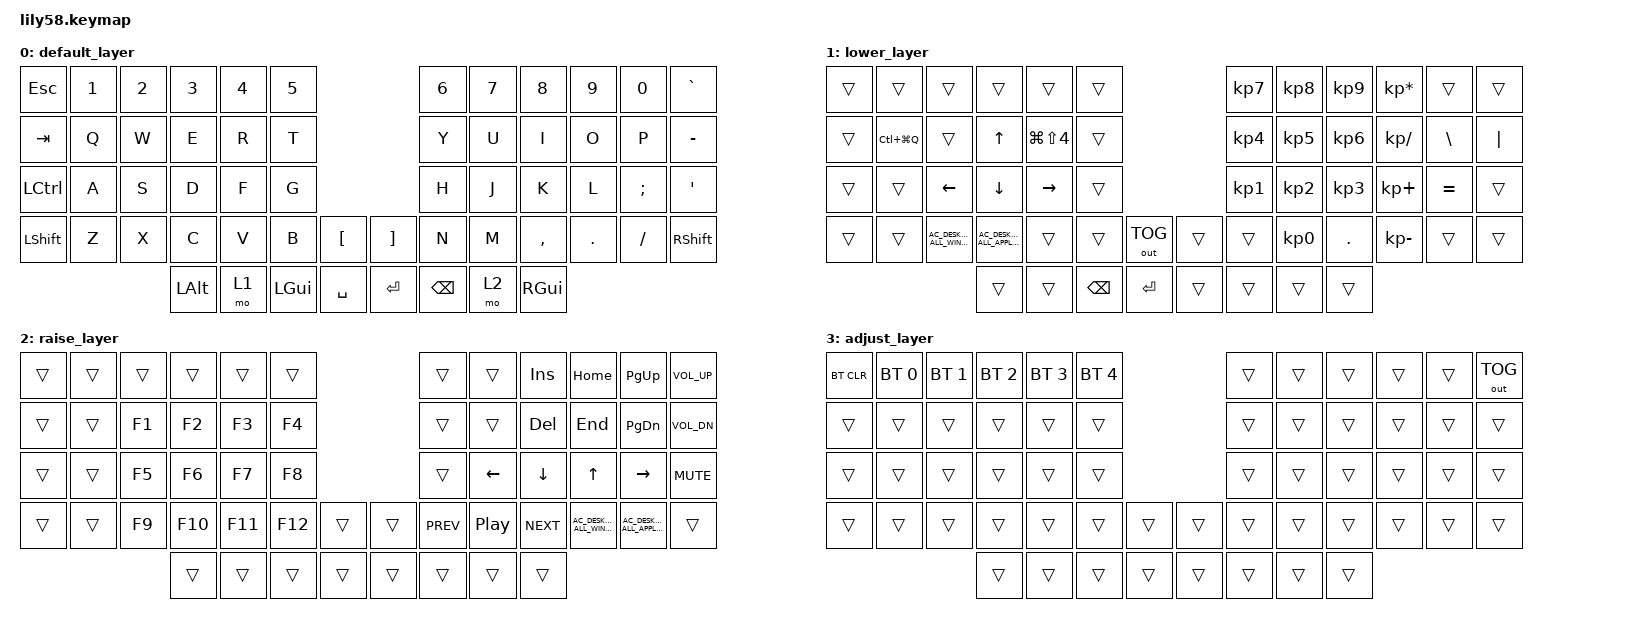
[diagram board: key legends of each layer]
/*
 * Copyright (c) 2020 The ZMK Contributors
 *
 * SPDX-License-Identifier: MIT
 */

#include <behaviors.dtsi>
#include <dt-bindings/zmk/bt.h>
#include <dt-bindings/zmk/keys.h>
#include <dt-bindings/zmk/outputs.h>

/ {
    conditional_layers {
        compatible = "zmk,conditional-layers";

        adjust_layer {
            if-layers = <1 2>;
            then-layer = <3>;
        };
    };

    keymap {
        compatible = "zmk,keymap";

        default_layer {
            bindings = <
&kp ESC    &kp N1  &kp N2  &kp N3    &kp N4  &kp N5                           &kp N6    &kp N7  &kp N8     &kp N9   &kp N0    &kp GRAVE
&kp TAB    &kp Q   &kp W   &kp E     &kp R   &kp T                            &kp Y     &kp U   &kp I      &kp O    &kp P     &kp MINUS
&kp LCTRL  &kp A   &kp S   &kp D     &kp F   &kp G                            &kp H     &kp J   &kp K      &kp L    &kp SEMI  &kp SQT
&kp LSHFT  &kp Z   &kp X   &kp C     &kp V   &kp B     &kp LBKT     &kp RBKT  &kp N     &kp M   &kp COMMA  &kp DOT  &kp FSLH  &kp RSHFT
                           &kp LALT  &mo 1   &kp LGUI  &kp SPACE    &kp RET   &kp BSPC  &mo 2   &kp RGUI
            >;
        };

        lower_layer {
            bindings = <
&trans  &trans         &trans                             &trans                                  &trans                &trans                                 &kp KP_NUMBER_7  &kp KP_NUMBER_8  &kp KP_NUMBER_9  &kp KP_MULTIPLY  &trans     &trans
&trans  &kp LC(LG(Q))  &trans                             &kp UP_ARROW                            &kp LG(LS(NUMBER_4))  &trans                                 &kp KP_NUMBER_4  &kp KP_NUMBER_5  &kp KP_NUMBER_6  &kp KP_DIVIDE    &kp BSLH   &kp PIPE
&trans  &trans         &kp LEFT_ARROW                     &kp DOWN_ARROW                          &kp RIGHT_ARROW       &trans                                 &kp KP_NUMBER_1  &kp KP_NUMBER_2  &kp KP_NUMBER_3  &kp KP_PLUS      &kp EQUAL  &trans
&trans  &trans         &kp C_AC_DESKTOP_SHOW_ALL_WINDOWS  &kp C_AC_DESKTOP_SHOW_ALL_APPLICATIONS  &trans                &trans         &out OUT_TOG    &trans  &trans           &kp KP_NUMBER_0  &kp DOT          &kp KP_MINUS     &trans     &trans
                                                          &trans                                  &trans                &kp BACKSPACE  &kp ENTER       &trans  &trans           &trans           &trans
            >;
        };

        raise_layer {
            bindings = <
&trans  &trans  &trans  &trans   &trans   &trans                     &trans      &trans    &kp INS     &kp HOME                           &kp PG_UP                               &kp C_VOL_UP
&trans  &trans  &kp F1  &kp F2   &kp F3   &kp F4                     &trans      &trans    &kp DEL     &kp END                            &kp PG_DN                               &kp C_VOL_DN
&trans  &trans  &kp F5  &kp F6   &kp F7   &kp F8                     &trans      &kp LEFT  &kp DOWN    &kp UP                             &kp RIGHT                               &kp K_MUTE
&trans  &trans  &kp F9  &kp F10  &kp F11  &kp F12  &trans    &trans  &kp C_PREV  &kp C_PP  &kp C_NEXT  &kp C_AC_DESKTOP_SHOW_ALL_WINDOWS  &kp C_AC_DESKTOP_SHOW_ALL_APPLICATIONS  &trans
                        &trans   &trans   &trans   &trans    &trans  &trans      &trans    &trans
            >;
        };

        adjust_layer {
            bindings = <
&bt BT_CLR  &bt BT_SEL 0  &bt BT_SEL 1  &bt BT_SEL 2  &bt BT_SEL 3  &bt BT_SEL 4                    &trans  &trans  &trans  &trans  &trans  &out OUT_TOG
&trans      &trans        &trans        &trans        &trans        &trans                          &trans  &trans  &trans  &trans  &trans  &trans
&trans      &trans        &trans        &trans        &trans        &trans                          &trans  &trans  &trans  &trans  &trans  &trans
&trans      &trans        &trans        &trans        &trans        &trans        &trans    &trans  &trans  &trans  &trans  &trans  &trans  &trans
                                        &trans        &trans        &trans        &trans    &trans  &trans  &trans  &trans
            >;
        };
    };
};
